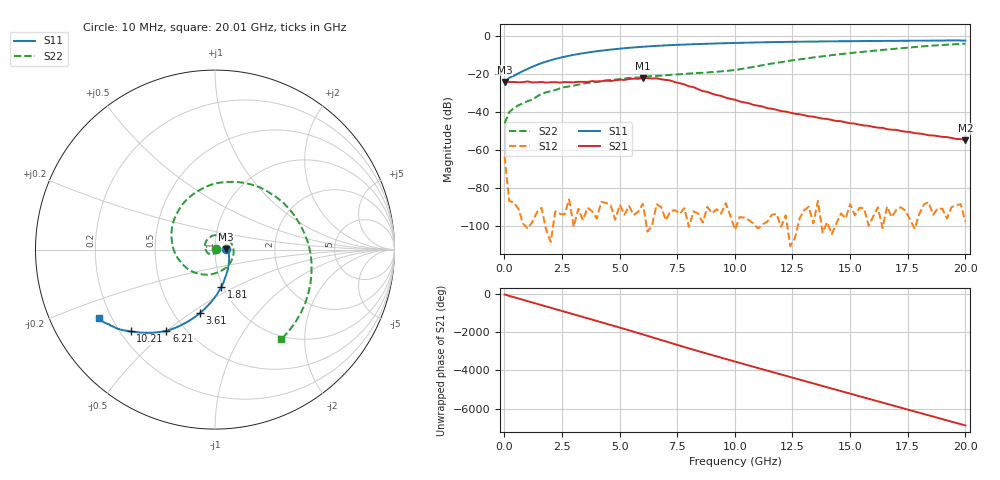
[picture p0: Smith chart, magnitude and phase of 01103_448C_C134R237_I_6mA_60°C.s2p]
!;Filter: kein Filter
!auto
!3/21/2019 9:27:54 AM
!3/21/2019 9:28:10 AM
!SP-Measurements Prober G4
!SP-Measurements Prober G4
!01103_448C
!134
!237
!12
!60
!-20
!0.00599970
!2.02
!0.74959551
!0.74959551
# Hz S  RI  R 50
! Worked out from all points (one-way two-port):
!   101 points, 10 MHz to 20.01 GHz, reference 50 ohm
!   highest |S21| = -22.17 dB at 6.01 GHz (marker M1); lowest = -54.8 dB at 20.01 GHz (marker M2)
!   lowest |S11| = -24.2 dB at 10 MHz (marker M3), VSWR 1.13, Z = 56.6 + j0.468 ohm
!   |S11| at or under -10 dB: start of sweep to 3.007 GHz
!   |S22| runs from -46.0 to -4.1 dB; largest |S21 - S12| = 0.078
!   S11 on the Smith chart (normalised r, x): 10 MHz: 1.13, +0.01; 1.81 GHz: 0.98, -0.43; 3.61 GHz: 0.67, -0.54; 6.21 GHz: 0.40, -0.50; 10.21 GHz: 0.24, -0.38; 20.01 GHz: 0.15, -0.27
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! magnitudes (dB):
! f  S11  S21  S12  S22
! 10 MHz  -24.2  -23.9  -63.5  -46.0
! 210 MHz  -22.1  -24.2  -86.7  -40.1
! 610 MHz  -19.7  -24.4  -90.8  -36.5
! 1.01 GHz  -17.3  -23.9  -101.2  -34.3
! 1.21 GHz  -16.3  -24.5  -97.8  -33.5
! 1.61 GHz  -14.4  -24.2  -90.3  -30.5
! 1.81 GHz  -13.6  -24.6  -101.7  -29.6
! 2.61 GHz  -11.0  -24.3  -93.7  -26.9
! 3.41 GHz  -9.1  -24.2  -96.8  -25.1
! 3.61 GHz  -8.8  -24.2  -90.3  -24.7
! 6.01 GHz  -5.7  -22.2  -88.2  -21.6
! 6.21 GHz  -5.6  -22.2  -102.8  -21.4
! 6.81 GHz  -5.1  -22.8  -90.0  -20.9
! 7.21 GHz  -4.9  -23.5  -92.0  -20.5
! 8.21 GHz  -4.4  -26.9  -92.2  -19.6
! 8.61 GHz  -4.2  -29.0  -98.1  -19.4
! 10.01 GHz  -3.7  -33.5  -101.8  -18.0
! 10.21 GHz  -3.7  -34.5  -95.2  -17.6
! 12.01 GHz  -3.2  -39.5  -100.3  -13.9
! 13.41 GHz  -3.0  -42.4  -98.5  -11.4
! 16.81 GHz  -2.6  -49.3  -95.2  -7.0
! 20.01 GHz  -2.5  -54.8  -97.7  -4.1
